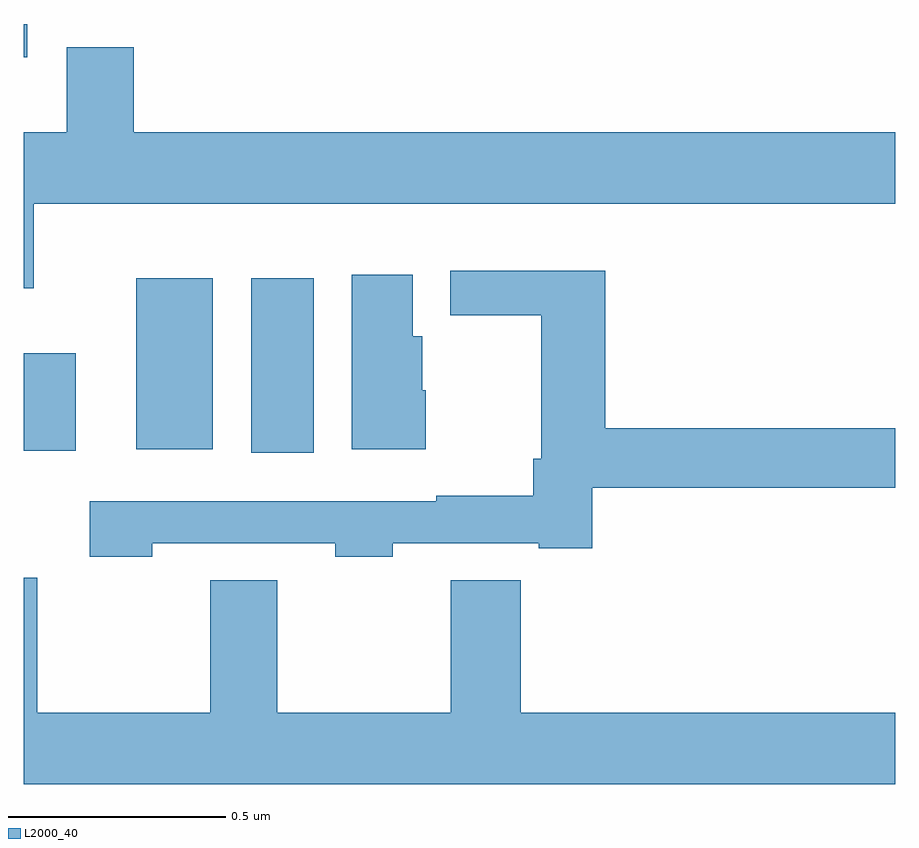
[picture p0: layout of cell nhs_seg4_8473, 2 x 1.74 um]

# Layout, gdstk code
import gdstk
lib = gdstk.Library(unit=1e-6, precision=1e-09)
def R(c, l, rs):  # rectangles x0, y0, x1, y1
    for r in rs: c.add(gdstk.rectangle(r[:2], r[2:], *l))
def P(c, l, *ps):  # polygons
    for p in ps: c.add(gdstk.Polygon(p, *l))
L2000_40 = (2000, 40)

nhs_seg4_8473 = lib.new_cell('nhs_seg4_8473')
R(nhs_seg4_8473, L2000_40, [(215.522,794.916,215.665,795.316), (215,794.921,215.119,795.145), (215.258,794.924,215.434,795.316), (215,795.824,215.008,795.9)])
P(nhs_seg4_8473, L2000_40, [(215.023,795.488),(217,795.488),(217,795.652),(215.252,795.652),(215.252,795.847),(215.099,795.847),(215.099,795.652),(215,795.652),(215,795.294),(215.023,795.294)],
  [(215.295,794.709),(215.715,794.709),(215.715,794.677),(215.847,794.677),(215.847,794.709),(216.182,794.709),(216.182,794.697),(216.305,794.697),(216.305,794.836),(217,794.836),(217,794.972),(216.335,794.972),(216.335,795.334),(215.979,795.334),(215.979,795.232),(216.188,795.232),(216.188,794.902),(216.169,794.902),(216.169,794.818),(215.947,794.818),(215.947,794.805),(215.151,794.805),(215.151,794.677),(215.295,794.677)],
  [(215.923,795.06),(215.914,795.06),(215.914,795.183),(215.893,795.183),(215.893,795.325),(215.753,795.325),(215.753,794.924),(215.923,794.924)],
  [(217,794.32),(216.14,794.32),(216.14,794.624),(215.98,794.624),(215.98,794.32),(215.582,794.32),(215.582,794.624),(215.428,794.624),(215.428,794.32),(215.031,794.32),(215.031,794.629),(215,794.629),(215,794.156),(217,794.156)])

lib.write_gds('nhs_seg4_8473.gds')
